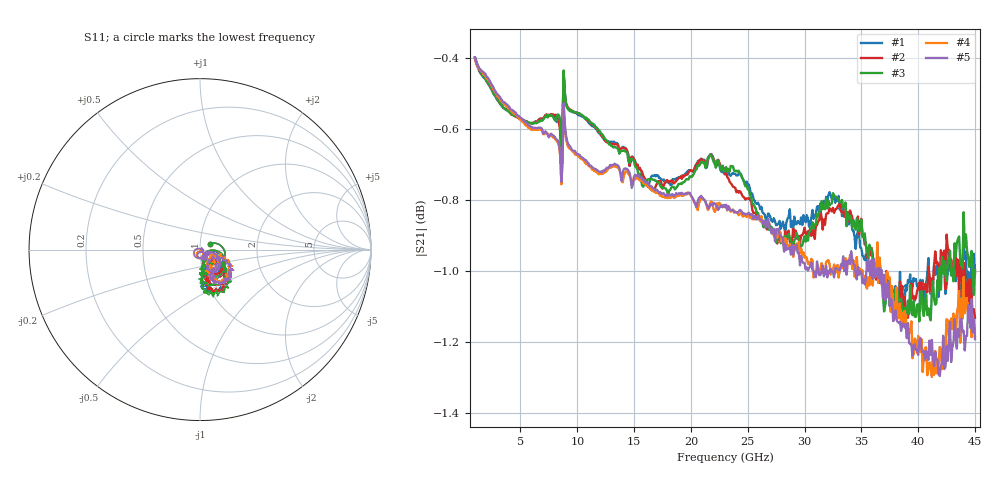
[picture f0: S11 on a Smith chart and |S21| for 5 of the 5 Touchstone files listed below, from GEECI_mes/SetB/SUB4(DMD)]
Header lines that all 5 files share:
!Keysight Technologies,N5247B,MY61255062,A.19.80.06
!Correction: S11(Cdelta 2-Port  )
!S21(Cdelta 2-Port  )
!S12(Cdelta 2-Port  )
!S22(Cdelta 2-Port  )
!S2P File: Measurements: S11, S21, S12, S22:
# Hz S  dB  R 50
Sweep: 1 GHz to 45 GHz
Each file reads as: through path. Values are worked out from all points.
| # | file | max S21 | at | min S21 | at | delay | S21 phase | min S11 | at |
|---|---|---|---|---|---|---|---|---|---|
| 1 | thru_ref_nos1.s2p | -0.40 dB | 1 GHz | -1.1 dB | 44.6 GHz | 49.3 ps | -49 deg at 23 GHz | -28.2 dB | 11.2 GHz |
| 2 | thru_ref_nos2.s2p | -0.40 dB | 1 GHz | -1.2 dB | 44.8 GHz | 49 ps | -47 deg at 23 GHz | -29.3 dB | 11.3 GHz |
| 3 | thru_ref_nos3.s2p | -0.40 dB | 1 GHz | -1.1 dB | 38.7 GHz | 49 ps | -47 deg at 23 GHz | -29.0 dB | 11.4 GHz |
| 4 | TN2.s2p | -0.40 dB | 1 GHz | -1.3 dB | 41.2 GHz | 57.7 ps | -119 deg at 23 GHz | -55.2 dB | 7.9 GHz |
| 5 | TN6.s2p | -0.40 dB | 1 GHz | -1.3 dB | 41.9 GHz | 57.6 ps | -117 deg at 23 GHz | -46.5 dB | 8.1 GHz |
